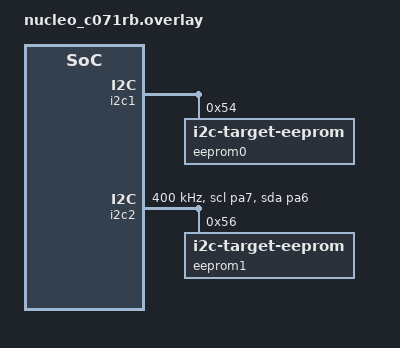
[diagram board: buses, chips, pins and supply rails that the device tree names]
/*
 * Copyright (c) 2025 STMicroelectronics
 * SPDX-License-Identifier: Apache-2.0
 */

/* I2C bus pins are exposed on the ST morpho header.
 *
 *  Bus        SDA               SCL
 *          Pin   Hdr         Pin   Hdr
 *  i2c1    PB9   CN5:9      PB8   CN5:10
 *  i2c2    PA6   CN5:5      PA7   CN5:4
 *
 * Short Pin PB9 to PA6, and PB8 to PA7, for the test to pass.
 */

#define IC2_TEST_0_DMA_TX <&dmamux1 1 11 (STM32_DMA_PERIPH_TX | STM32_DMA_PRIORITY_HIGH)>
#define IC2_TEST_0_DMA_RX <&dmamux1 2 10 (STM32_DMA_PERIPH_RX | STM32_DMA_PRIORITY_HIGH)>

i2c_test_0: &i2c1 {
	dmas = IC2_TEST_0_DMA_TX, IC2_TEST_0_DMA_RX;
	dma-names = "tx", "rx";

	eeprom0: eeprom@54 {
		compatible = "zephyr,i2c-target-eeprom";
		reg = <0x54>;
		size = <256>;
	};
};

#define IC2_TEST_1_DMA_TX <&dmamux1 3 13 (STM32_DMA_PERIPH_TX | STM32_DMA_PRIORITY_HIGH)>
#define IC2_TEST_1_DMA_RX <&dmamux1 4 12 (STM32_DMA_PERIPH_RX | STM32_DMA_PRIORITY_HIGH)>

i2c_test_1: &i2c2 {
	pinctrl-0 = <&i2c2_scl_pa7 &i2c2_sda_pa6>;
	pinctrl-names = "default";
	scl-gpios = <&gpioa 7 GPIO_ACTIVE_HIGH>;
	sda-gpios = <&gpioa 6 GPIO_ACTIVE_HIGH>;
	dmas = IC2_TEST_1_DMA_TX, IC2_TEST_1_DMA_RX;
	dma-names = "tx", "rx";
	status = "okay";
	clock-frequency = <I2C_BITRATE_FAST>;

	eeprom1: eeprom@56 {
		compatible = "zephyr,i2c-target-eeprom";
		reg = <0x56>;
		size = <256>;
	};
};
